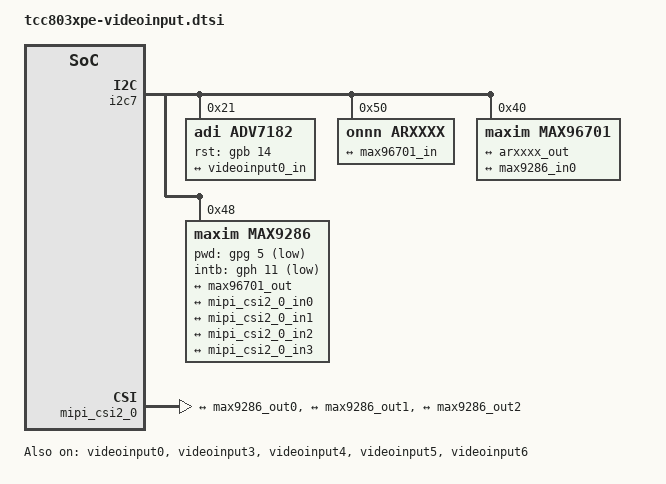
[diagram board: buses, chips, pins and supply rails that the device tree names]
// SPDX-License-Identifier: (GPL-2.0-or-later OR MIT)
/*
 * Copyright (C) Telechips Inc.
 */

#include "tcc803x-videoinput.dtsi"

&i2c7 {
	#address-cells = <1>;
	#size-cells = <0>;
	status = "okay";
	port-mux = <12>;
	pinctrl-names = "default";
	pinctrl-0 = <&i2c12_bus>;

	/* video decoder using parallel interface output */
	adv7182: adv7182@21 {
		status		= "okay";
		compatible	= "adi,adv7182";
		pinctrl-names	= "default";
		pinctrl-0	= <&cam0_clk &cam0_data_8bit>;
		rst-gpios	= <&gpb 14 0>;
		reg		= <0x21>;	// 0x42 >> 1
		port {
			adv7182_out: endpoint {
				remote-endpoint = <&videoinput0_in>;
				io-direction	= "output";
				bus-width	= <8>;
			};
		};
	};

	arxxxx: arxxxx@50 {
		status		= "okay";
		compatible	= "onnn,arxxxx";
		reg		= <0x50>;
		port {
			arxxxx_out: endpoint {
				remote-endpoint = <&max96701_in>;
				io-direction	= "output";
			};
		};
	};

	/* HD camera module & max9286 using MIPI CSI2 output */
	max96701: max96701@40 {
		/* serializer */
		status		= "okay";
		compatible	= "maxim,max96701";
		reg		= <0x40>;
		ports {
			#address-cells = <1>;
			#size-cells = <0>;
			port@0 {
				reg = <0>;
				max96701_in: endpoint {
					remote-endpoint = <&arxxxx_out>;
					io-direction	= "input";
				};
			};
			port@1 {
				reg = <1>;
				max96701_out: endpoint {
					remote-endpoint = <&max9286_in0>;
					io-direction	= "output";
				};
			};
		};
	};

	max9286: max9286@48 {
		/* deserializer */
		status		= "okay";
		compatible	= "maxim,max9286";
		pwd-gpios	= <&gpg 5 1>;
		intb-gpios	= <&gph 11 1>;
		//rst-gpios	= <&gpb 15 1>;  /* mcnex module sensor */
		reg		= <0x48>;	// 0x90 >> 1
		/*
		 * broadcasting mode access each linked devices
		 * by the same I2C slave address.
		 *
		 * Also,
		 * using the serdes I2C address mapping table,
		 * each liked devices can be accessed
		 * by the unique I2C slave address.
		 */
		broadcasting-mode;
		ports {
			#address-cells = <1>;
			#size-cells = <0>;
			/*
			 * 0 ~ 3
			 * input ports. The number is matched with VC
			 *
			 * 4
			 * output port.
			 */
			port@0 {
				reg = <0>;
				max9286_in0: endpoint {
					remote-endpoint = <&max96701_out>;
					io-direction	= "input";
					channel		= <0>;
				};
			};
			port@4 {
				reg = <4>;
				max9286_out0: endpoint@0 {
					remote-endpoint = <&mipi_csi2_0_in0>;
					io-direction	= "output";
					channel		= <0>;
				};
				max9286_out1: endpoint@1 {
					remote-endpoint = <&mipi_csi2_0_in1>;
					io-direction	= "output";
					channel		= <1>;
				};
				max9286_out2: endpoint@2 {
					remote-endpoint = <&mipi_csi2_0_in2>;
					io-direction	= "output";
					channel		= <2>;
				};
				max9286_out3: endpoint@3 {
					remote-endpoint = <&mipi_csi2_0_in3>;
					io-direction	= "output";
					channel		= <3>;
				};
			};
		};
	};
};

&mipi_csi2_0 {
	status = "okay";
	ports {
		#address-cells = <1>;
		#size-cells = <0>;
		/*
		 * 0
		 * input port.
		 *
		 * 1 ~ 4
		 * output ports. (1: VC0 ~ 4: VC3)
		 */
		port@0 {
			reg = <0>;
			mipi_csi2_0_in0: endpoint@0 {
				remote-endpoint	= <&max9286_out0>;
				io-direction	= "input";
				channel		= <0>;
				num-channel	= <4>;

				/*
				 * 0: CH0 only, no data interleave
				 * 1: DT only
				 * 2: VC only
				 * 3: VC and DT
				 */
				interleave-mode = <3>;
				hs-settle = <17>;
				data-lanes = <1 2 3 4>;
			};
			mipi_csi2_0_in1: endpoint@1 {
				remote-endpoint	= <&max9286_out1>;
				io-direction	= "input";
				channel		= <1>;
			};
			mipi_csi2_0_in2: endpoint@2 {
				remote-endpoint	= <&max9286_out2>;
				io-direction	= "input";
				channel		= <2>;
			};
			mipi_csi2_0_in3: endpoint@3 {
				remote-endpoint	= <&max9286_out3>;
				io-direction	= "input";
				channel		= <3>;
			};
		};
		port@1 {
			reg = <1>;
			mipi_csi2_0_out0: endpoint {
				remote-endpoint = <&videoinput3_in>;
				io-direction	= "output";
				channel		= <0>;
				/*
				 * 0: Single pixel mode
				 * 1: Dual pixel mode (RAW8/10/12, YUV422)
				 * 2: Quad pixel mode (RAW8/10/12)
				 * 3: Invalid
				 */
				pixel-mode = <1>;
			};
		};
		port@2 {
			reg = <2>;
			mipi_csi2_0_out1: endpoint {
				remote-endpoint	= <&videoinput4_in>;
				io-direction	= "output";
				channel		= <1>;
				pixel-mode = <1>;
			};
		};
		port@3 {
			reg = <3>;
			mipi_csi2_0_out2: endpoint {
				remote-endpoint	= <&videoinput5_in>;
				io-direction	= "output";
				channel		= <2>;
				pixel-mode = <1>;
			};
		};
		port@4 {
			reg = <4>;
			mipi_csi2_0_out3: endpoint {
				remote-endpoint	= <&videoinput6_in>;
				io-direction	= "output";
				channel		= <3>;
				pixel-mode = <1>;
			};
		};
	};
};

&videoinput0 {
	status		= "okay";
	cifport		= <&cifport		0>;
	use_pgl		= <0>;
	/* memory-region
	 *  - [0]: parking guideline
	 *  - [1]: deinterlacing by viqe
	 *  - [2]: preview
	 *  - [3]: last frame
	 */
	memory-region	= <&pmap_parking_gui
			   &pmap_rearcamera_viqe
			   &pmap_rearcamera
			   &pmap_vin_lastframe>;
	port {
		videoinput0_in: endpoint {
			remote-endpoint	= <&adv7182_out>;
			io-direction	= "input";
			stream-enable	= <0>;	// VIN_CTRL.SE
			flush-vsync	= <0>;	// VIN_MISC.FVS
		};
	};
};

&videoinput3 {
	status		= "okay";
	cifport		= <&cifport		5>;
	/* memory-region
	 *  - [0]: parking guideline
	 *  - [1]: deinterlacing by viqe
	 *  - [2]: preview
	 *  - [3]: last frame
	 */
	memory-region	= <0
			   0
			   &pmap_rearcamera3
			   0>;
	port {
		videoinput3_in: endpoint {
			remote-endpoint	= <&mipi_csi2_0_out0>;
			io-direction	= "input";
			stream-enable	= <1>;	// VIN_CTRL.SE
			flush-vsync	= <1>;	// VIN_MISC.FVS
		};
	};
};

&videoinput4 {
	status		= "okay";
	cifport		= <&cifport		6>;
	/* memory-region
	 *  - [0]: parking guideline
	 *  - [1]: deinterlacing by viqe
	 *  - [2]: preview
	 *  - [3]: last frame
	 */
	memory-region	= <0
			   0
			   &pmap_rearcamera4
			   0>;
	port {
		videoinput4_in: endpoint {
			remote-endpoint	= <&mipi_csi2_0_out1>;
			io-direction	= "input";
			stream-enable	= <1>;	// VIN_CTRL.SE
			flush-vsync	= <1>;	// VIN_MISC.FVS
		};
	};
};

&videoinput5 {
	status		= "okay";
	cifport		= <&cifport		7>;
	/* memory-region
	 *  - [0]: parking guideline
	 *  - [1]: deinterlacing by viqe
	 *  - [2]: preview
	 *  - [3]: last frame
	 */
	memory-region	= <0
			   0
			   &pmap_rearcamera5
			   0>;
	port {
		videoinput5_in: endpoint {
			remote-endpoint	= <&mipi_csi2_0_out2>;
			io-direction	= "input";
			stream-enable	= <1>;	// VIN_CTRL.SE
			flush-vsync	= <1>;	// VIN_MISC.FVS
		};
	};
};

&videoinput6 {
	status		= "okay";
	cifport		= <&cifport		8>;
	/* memory-region
	 *  - [0]: parking guideline
	 *  - [1]: deinterlacing by viqe
	 *  - [2]: preview
	 *  - [3]: last frame
	 */
	memory-region	= <0
			   0
			   &pmap_rearcamera6
			   0>;
	port {
		videoinput6_in: endpoint {
			remote-endpoint	= <&mipi_csi2_0_out3>;
			io-direction	= "input";
			stream-enable	= <1>;	// VIN_CTRL.SE
			flush-vsync	= <1>;	// VIN_MISC.FVS
		};
	};
};
